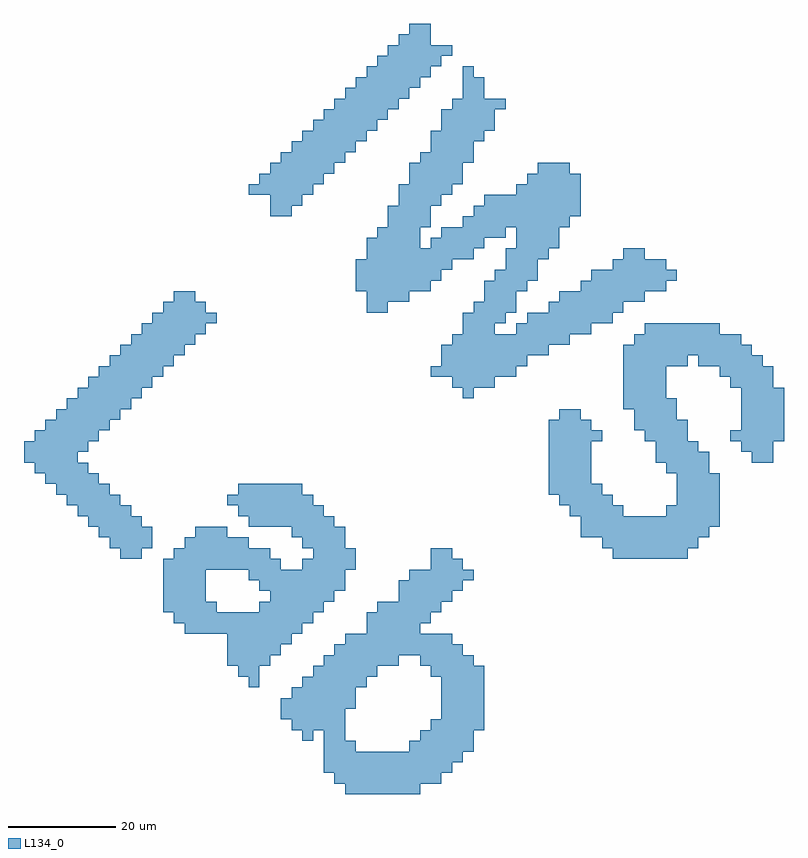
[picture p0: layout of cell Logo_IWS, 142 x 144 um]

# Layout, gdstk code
import gdstk
lib = gdstk.Library(unit=1e-6, precision=1e-09)
def P(c, l, *ps):  # polygons
    for p in ps: c.add(gdstk.Polygon(p, *l))
L134_0 = (134, 0)

logo_iws = lib.new_cell('Logo_IWS')
P(logo_iws, L134_0, [(138,82),(138,84),(136,84),(136,86),(134,86),(134,94),(132,94),(132,92),(130,92),(130,94),(128,94),(128,96),(126,96),(126,100),(128,100),(128,102),(130,102),(130,104),(132,104),(132,106),(134,106),(134,108),(148,108),(148,106),(144,106),(144,104),(142,104),(142,102),(140,102),(140,98),(138,98),(138,92),(140,92),(140,90),(150,90),(150,92),(152,92),(152,94),(154,94),(154,96),(156,96),(156,104),(154,104),(154,106),(152,106),(152,108),(136,108),(136,110),(138,110),(138,112),(142,112),(142,116),(144,116),(144,118),(148,118),(148,122),(150,122),(150,124),(154,124),(154,128),(158,128),(158,126),(160,126),(160,124),(162,124),(162,122),(160,122),(160,120),(158,120),(158,118),(156,118),(156,116),(154,116),(154,114),(152,114),(152,112),(158,112),(158,110),(160,110),(160,108),(162,108),(162,106),(164,106),(164,94),(162,94),(162,90),(160,90),(160,88),(158,88),(158,86),(156,86),(156,84),(152,84),(152,82)],
  [(120,102),(120,104),(118,104),(118,106),(116,106),(116,112),(108,112),(108,114),(106,114),(106,116),(104,116),(104,124),(112,124),(112,118),(114,118),(114,116),(122,116),(122,118),(124,118),(124,120),(122,120),(122,122),(120,122),(120,124),(104,124),(104,126),(106,126),(106,128),(108,128),(108,130),(110,130),(110,132),(116,132),(116,130),(120,130),(120,128),(124,128),(124,126),(126,126),(126,124),(130,124),(130,126),(132,126),(132,128),(130,128),(130,130),(128,130),(128,132),(120,132),(120,134),(118,134),(118,136),(116,136),(116,138),(118,138),(118,140),(130,140),(130,138),(132,138),(132,136),(134,136),(134,134),(136,134),(136,132),(138,132),(138,128),(140,128),(140,124),(138,124),(138,120),(136,120),(136,118),(134,118),(134,116),(132,116),(132,114),(130,114),(130,112),(128,112),(128,110),(126,110),(126,108),(124,108),(124,106),(122,106),(122,102)],
  [(188,126),(188,128),(186,128),(186,130),(182,130),(182,134),(180,134),(180,136),(178,136),(178,138),(176,138),(176,152),(178,152),(178,154),(182,154),(182,152),(184,152),(184,150),(186,150),(186,148),(184,148),(184,140),(186,140),(186,138),(188,138),(188,136),(190,136),(190,134),(198,134),(198,136),(200,136),(200,142),(198,142),(198,144),(196,144),(196,148),(194,148),(194,150),(192,150),(192,154),(190,154),(190,166),(192,166),(192,168),(194,168),(194,170),(208,170),(208,168),(212,168),(212,166),(214,166),(214,164),(216,164),(216,162),(218,162),(218,158),(220,158),(220,148),(218,148),(218,144),(214,144),(214,146),(212,146),(212,148),(210,148),(210,150),(212,150),(212,158),(210,158),(210,160),(208,160),(208,162),(204,162),(204,164),(202,164),(202,162),(198,162),(198,156),(200,156),(200,152),(202,152),(202,148),(204,148),(204,146),(206,146),(206,142),(208,142),(208,132),(206,132),(206,130),(204,130),(204,128),(202,128),(202,126)],
  [(96,126),(96,128),(94,128),(94,130),(92,130),(92,132),(90,132),(90,134),(88,134),(88,136),(86,136),(86,138),(84,138),(84,140),(82,140),(82,142),(80,142),(80,144),(78,144),(78,148),(80,148),(80,150),(82,150),(82,152),(84,152),(84,154),(86,154),(86,156),(88,156),(88,158),(90,158),(90,160),(92,160),(92,162),(94,162),(94,164),(96,164),(96,166),(98,166),(98,168),(100,168),(100,170),(102,170),(102,172),(104,172),(104,174),(106,174),(106,176),(110,176),(110,174),(112,174),(112,172),(114,172),(114,170),(112,170),(112,168),(110,168),(110,166),(108,166),(108,164),(106,164),(106,162),(104,162),(104,160),(102,160),(102,158),(100,158),(100,156),(98,156),(98,154),(96,154),(96,152),(94,152),(94,150),(92,150),(92,148),(90,148),(90,146),(88,146),(88,144),(90,144),(90,142),(92,142),(92,140),(94,140),(94,138),(96,138),(96,136),(98,136),(98,134),(100,134),(100,132),(102,132),(102,128),(100,128),(100,126)],
  [(160,156),(160,158),(158,158),(158,160),(154,160),(154,162),(156,162),(156,166),(158,166),(158,168),(160,168),(160,172),(162,172),(162,174),(164,174),(164,178),(166,178),(166,180),(168,180),(168,184),(170,184),(170,188),(168,188),(168,186),(164,186),(164,184),(162,184),(162,182),(158,182),(158,180),(156,180),(156,178),(154,178),(154,176),(150,176),(150,174),(146,174),(146,172),(142,172),(142,176),(140,176),(140,182),(142,182),(142,186),(144,186),(144,188),(146,188),(146,192),(148,192),(148,196),(150,196),(150,200),(152,200),(152,202),(154,202),(154,206),(156,206),(156,210),(158,210),(158,212),(160,212),(160,218),(162,218),(162,216),(164,216),(164,212),(168,212),(168,210),(166,210),(166,206),(164,206),(164,204),(162,204),(162,200),(160,200),(160,196),(158,196),(158,194),(156,194),(156,192),(154,192),(154,188),(152,188),(152,184),(154,184),(154,186),(156,186),(156,188),(160,188),(160,190),(162,190),(162,192),(164,192),(164,194),(170,194),(170,196),(172,196),(172,198),(174,198),(174,200),(180,200),(180,198),(182,198),(182,190),(180,190),(180,188),(178,188),(178,184),(176,184),(176,182),(174,182),(174,178),(172,178),(172,176),(170,176),(170,172),(168,172),(168,170),(166,170),(166,168),(170,168),(170,170),(172,170),(172,172),(176,172),(176,174),(178,174),(178,176),(182,176),(182,178),(184,178),(184,180),(188,180),(188,182),(190,182),(190,184),(194,184),(194,182),(198,182),(198,180),(200,180),(200,178),(198,178),(198,176),(194,176),(194,174),(190,174),(190,172),(188,172),(188,170),(184,170),(184,168),(180,168),(180,166),(176,166),(176,164),(172,164),(172,162),(170,162),(170,160),(166,160),(166,158),(162,158),(162,156)],
  [(124,190),(124,194),(120,194),(120,196),(122,196),(122,198),(124,198),(124,200),(126,200),(126,202),(128,202),(128,204),(130,204),(130,206),(132,206),(132,208),(134,208),(134,210),(136,210),(136,212),(138,212),(138,214),(140,214),(140,216),(142,216),(142,218),(144,218),(144,220),(146,220),(146,222),(148,222),(148,224),(150,224),(150,226),(154,226),(154,222),(158,222),(158,220),(156,220),(156,218),(154,218),(154,216),(152,216),(152,214),(150,214),(150,212),(148,212),(148,210),(146,210),(146,208),(144,208),(144,206),(142,206),(142,204),(140,204),(140,202),(138,202),(138,200),(136,200),(136,198),(134,198),(134,196),(132,196),(132,194),(130,194),(130,192),(128,192),(128,190)])

lib.write_gds('Logo_IWS.gds')
